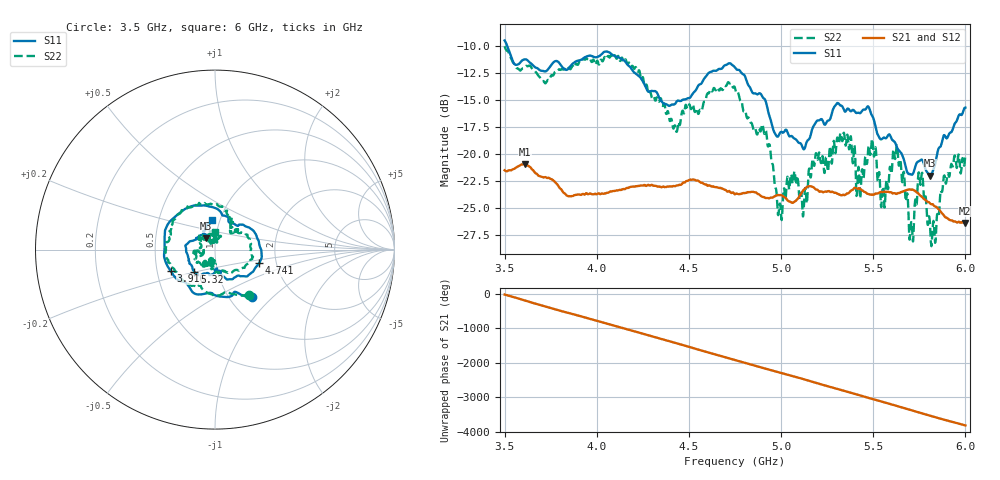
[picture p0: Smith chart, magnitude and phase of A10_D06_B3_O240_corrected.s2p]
! Created with skrf 1.9.0 (http://scikit-rf.org).
# Hz S RI R 50.0
!freq ReS11 ImS11 ReS21 ImS21 ReS12 ImS12 ReS22 ImS22
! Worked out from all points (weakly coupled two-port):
!   1601 points, 3.5 GHz to 6 GHz, reference 50 ohm
!   highest |S21| = -20.92 dB at 3.609 GHz (marker M1); lowest = -26.4 dB at 5.997 GHz (marker M2)
!   lowest |S11| = -22.0 dB at 5.809 GHz (marker M3), VSWR 1.17, Z = 45 + j5.64 ohm
!   |S11| at or under -10 dB: 3.515 GHz to end of sweep
!   |S22| runs from -28.5 to -10.0 dB; largest |S21 - S12| = 0.001
!   S11 on the Smith chart (normalised r, x): 3.5 GHz: 1.27, -0.76; 3.916 GHz: 0.59, -0.16; 4.741 GHz: 1.62, -0.26; 5.32 GHz: 0.77, -0.20; 6 GHz: 0.92, +0.31
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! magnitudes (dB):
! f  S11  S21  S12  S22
! 3.5 GHz  -9.5  -21.5  -21.5  -10.0
! 3.609 GHz  -11.2  -20.9  -20.9  -11.9
! 3.916 GHz  -11.3  -23.8  -23.7  -11.5
! 3.917 GHz  -11.2  -23.8  -23.7  -11.4
! 4.334 GHz  -14.6  -23.0  -23.0  -15.1
! 4.427 GHz  -15.3  -23.0  -22.9  -17.5
! 4.741 GHz  -11.8  -23.6  -23.6  -13.8
! 4.75 GHz  -12.0  -23.7  -23.6  -13.9
! 4.909 GHz  -14.9  -24.0  -23.9  -18.1
! 4.994 GHz  -18.0  -23.8  -23.7  -24.6
! 5.167 GHz  -17.8  -23.0  -23.0  -21.0
! 5.32 GHz  -15.5  -23.8  -23.7  -18.2
! 5.42 GHz  -16.2  -23.2  -23.2  -21.2
! 5.486 GHz  -16.1  -23.8  -23.7  -19.9
! 5.552 GHz  -18.5  -23.5  -23.5  -23.1
! 5.584 GHz  -18.2  -23.5  -23.5  -22.5
! 5.636 GHz  -19.6  -23.6  -23.6  -20.6
! 5.706 GHz  -21.9  -23.3  -23.2  -26.3
! 5.756 GHz  -20.6  -23.9  -23.8  -22.9
! 5.809 GHz  -22.0  -24.6  -24.5  -27.1
! 5.997 GHz  -15.7  -26.4  -26.3  -20.7
! 6 GHz  -15.7  -26.4  -26.3  -20.0
